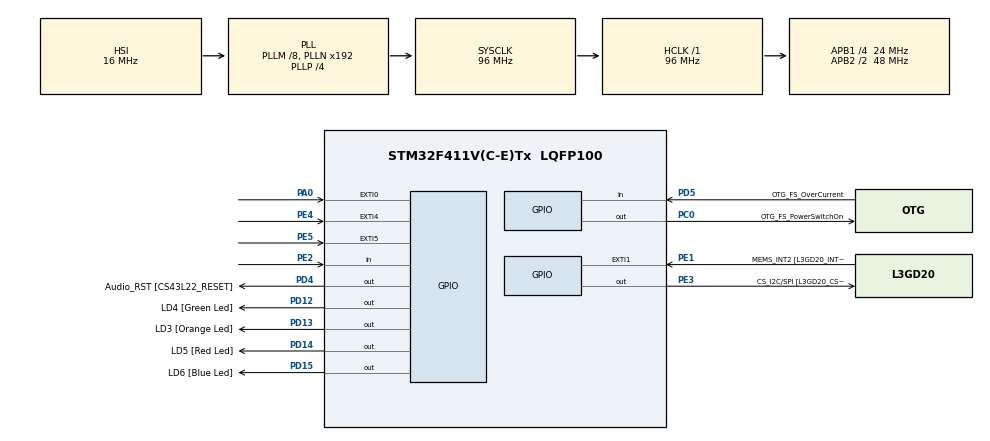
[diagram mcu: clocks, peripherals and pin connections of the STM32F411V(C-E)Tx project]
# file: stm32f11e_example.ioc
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FREERTOS.INCLUDE_vTaskDelayUntil=1
FREERTOS.Tasks01=defaultTask,0,128,StartDefaultTask,Default,NULL
Mcu.Family=STM32F4
Mcu.Name=STM32F411V(C-E)Tx
Mcu.Package=LQFP100
NVIC.PriorityGroup=NVIC_PRIORITYGROUP_4
NVIC.TIM1_UP_TIM10_IRQn=true\:0\:0\:false\:false\:true\:false\:false\:true
NVIC.TimeBase=TIM1_UP_TIM10_IRQn
NVIC.TimeBaseIP=TIM1
PA0-WKUP.GPIO_ModeDefaultEXTI=GPIO_MODE_EVT_RISING
PA0-WKUP.Signal=GPXTI0
PA10.GPIO_Label=OTG_FS_ID
PA10.Signal=USB_OTG_FS_ID
PA11.GPIO_Label=OTG_FS_DM
PA11.Signal=USB_OTG_FS_DM
PA12.GPIO_Label=OTG_FS_DP
PA12.Signal=USB_OTG_FS_DP
PA13.GPIO_Label=SWDIO
PA13.Signal=SYS_JTMS-SWDIO
PA14.GPIO_Label=SWCLK
PA14.Signal=SYS_JTCK-SWCLK
PA4.GPIO_Label=I2S3_WS [CS43L22_LRCK]
PA4.GPIO_Mode=GPIO_MODE_AF_PP
PA4.GPIO_PuPd=GPIO_NOPULL
PA4.GPIO_Speed=GPIO_SPEED_FREQ_LOW
PA4.Signal=I2S3_WS
PA5.GPIO_Label=SPI1_SCK [L3GD20_SC/SPC]
PA5.Signal=SPI1_SCK
PA6.GPIO_Label=SPI1_MISO [L3GD20_AS0/SDO]
PA6.Signal=SPI1_MISO
PA7.GPIO_Label=SPI1_MOSI [L3GD20_SDA/SDI/SDO]
PA7.Signal=SPI1_MOSI
PA9.GPIO_Label=VBUS_FS
PA9.Signal=USB_OTG_FS_VBUS
PB10.GPIO_Label=CLK_IN [MP45DT02_CLK]
PB10.Signal=I2S2_CK
PB12.Signal=I2S2_WS
PB3.GPIO_Label=SWO
PB3.Signal=SYS_JTDO-SWO
PB6.GPIO_Label=Audio_SCL [CS43L22_SCL]
PB6.GPIO_Mode=GPIO_MODE_AF_OD
PB6.GPIO_PuPd=GPIO_NOPULL
PB6.GPIO_Speed=GPIO_SPEED_FREQ_LOW
PB6.Signal=I2C1_SCL
PB9.GPIO_Label=Audio_SDA [CS43L22_SDA]
PB9.GPIO_Mode=GPIO_MODE_AF_OD
PB9.GPIO_PuPd=GPIO_NOPULL
PB9.GPIO_Speed=GPIO_SPEED_FREQ_LOW
PB9.Signal=I2C1_SDA
PC0.GPIO_Label=OTG_FS_PowerSwitchOn
PC0.PinState=GPIO_PIN_SET
PC0.Signal=GPIO_Output
PC10.GPIO_Label=I2S3_SCK [CS43L22_SCLK]
PC10.GPIO_Mode=GPIO_MODE_AF_PP
PC10.GPIO_PuPd=GPIO_NOPULL
PC10.GPIO_Speed=GPIO_SPEED_FREQ_LOW
PC10.Signal=I2S3_CK
PC12.GPIO_Label=I2S3_SD [CS43L22_SDIN]
PC12.GPIO_Mode=GPIO_MODE_AF_PP
PC12.GPIO_PuPd=GPIO_NOPULL
PC12.GPIO_Speed=GPIO_SPEED_FREQ_LOW
PC12.Signal=I2S3_SD
PC14-OSC32_IN.GPIO_Label=PC14-OSC32_IN
PC14-OSC32_IN.Signal=RCC_OSC32_IN
PC15-OSC32_OUT.GPIO_Label=PC15-OSC32_OUT
PC15-OSC32_OUT.Signal=RCC_OSC32_OUT
PC3.GPIO_Label=PDM_OUT [MP45DT02_DOUT]
PC3.Signal=I2S2_SD
PC7.GPIO_Label=I2S3_MCK [CS43L22_MCLK]
PC7.GPIO_Mode=GPIO_MODE_AF_PP
PC7.GPIO_PuPd=GPIO_NOPULL
PC7.GPIO_Speed=GPIO_SPEED_FREQ_LOW
PC7.Signal=I2S3_MCK
PD12.GPIO_Label=LD4 [Green Led]
PD12.GPIO_PuPd=GPIO_NOPULL
PD12.GPIO_Speed=GPIO_SPEED_FREQ_LOW
PD12.Signal=GPIO_Output
PD13.GPIO_Label=LD3 [Orange Led]
PD13.GPIO_PuPd=GPIO_NOPULL
PD13.GPIO_Speed=GPIO_SPEED_FREQ_LOW
PD13.Signal=GPIO_Output
PD14.GPIO_Label=LD5 [Red Led]
PD14.GPIO_PuPd=GPIO_NOPULL
PD14.GPIO_Speed=GPIO_SPEED_FREQ_LOW
PD14.Signal=GPIO_Output
PD15.GPIO_Label=LD6 [Blue Led]
PD15.GPIO_PuPd=GPIO_NOPULL
PD15.GPIO_Speed=GPIO_SPEED_FREQ_LOW
PD15.Signal=GPIO_Output
PD4.GPIO_Label=Audio_RST [CS43L22_RESET]
PD4.Signal=GPIO_Output
PD5.GPIO_Label=OTG_FS_OverCurrent
PD5.Signal=GPIO_Input
PE1.GPIO_Label=MEMS_INT2 [L3GD20_INT2]
PE1.GPIO_ModeDefaultEXTI=GPIO_MODE_EVT_RISING
PE1.Signal=GPXTI1
PE2.Signal=GPIO_Input
PE3.GPIO_Label=CS_I2C/SPI [L3GD20_CS_I2C/SPI]
PE3.Signal=GPIO_Output
PE4.GPIO_ModeDefaultEXTI=GPIO_MODE_EVT_RISING
PE4.Signal=GPXTI4
PE5.GPIO_ModeDefaultEXTI=GPIO_MODE_EVT_RISING
PE5.Signal=GPXTI5
PH0\ -\ OSC_IN.GPIO_Label=PH0-OSC_IN
PH0\ -\ OSC_IN.Signal=RCC_OSC_IN
PH1\ -\ OSC_OUT.GPIO_Label=PH1-OSC_OUT
PH1\ -\ OSC_OUT.Signal=RCC_OSC_OUT
ProjectManager.HeapSize=0x200
ProjectManager.StackSize=0x400
ProjectManager.TargetToolchain=SW4STM32
RCC.48MHZClocksFreq_Value=48000000
RCC.AHBFreq_Value=96000000
RCC.APB1CLKDivider=RCC_HCLK_DIV4
RCC.APB1Freq_Value=24000000
RCC.APB1TimFreq_Value=48000000
RCC.APB2CLKDivider=RCC_HCLK_DIV2
RCC.APB2Freq_Value=48000000
RCC.APB2TimFreq_Value=96000000
RCC.CortexFreq_Value=96000000
RCC.HCLKFreq_Value=96000000
RCC.HSE_VALUE=8000000
RCC.HSI_VALUE=16000000
RCC.LSE_VALUE=32768
RCC.PLLI2SM=5
RCC.PLLI2SN=200
RCC.PLLM=8
RCC.PLLP=RCC_PLLP_DIV4
RCC.PLLQ=8
RCC.SYSCLKFreq_VALUE=96000000
RCC.SYSCLKSource=RCC_SYSCLKSOURCE_PLLCLK
RCC.VCOOutputFreq_Value=384000000
VP_FREERTOS_VS_CMSIS_V1.Mode=CMSIS_V1
VP_SYS_VS_tim1.Mode=TIM1
board=STM32F411E-DISCO

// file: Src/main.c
/* USER CODE BEGIN Header */
/**
  ******************************************************************************
  * @file           : main.c
  * @brief          : Main program body
  ******************************************************************************
  * @attention
  *
  * <h2><center>&copy; Copyright (c) 2019 STMicroelectronics.
  * All rights reserved.</center></h2>
  *
  * This software component is licensed by ST under Ultimate Liberty license
  * SLA0044, the "License"; You may not use this file except in compliance with
  * the License. You may obtain a copy of the License at:
  *                             www.st.com/SLA0044
  *
  ******************************************************************************
  */
/* USER CODE END Header */

#include "main.h"
#include "cmsis_os.h"

osThreadId defaultTaskHandle;
/* USER CODE BEGIN PV */
/* Private variables ---------------------------------------------------------*/
osThreadId blinkLightsTaskHandle;

/* USER CODE END PV */

void SystemClock_Config(void);
static void MX_GPIO_Init(void);
void StartDefaultTask(void const* argument);

/* USER CODE BEGIN PFP */
/* Private function prototypes -----------------------------------------------*/
void blinkLightsTask(void const* argument);
void externalLEDTask(void const* argument);
void adcReadTask(void const* argument);
void spiReadTask(void const* argument);

/* USER CODE END PFP */

int main(void)
{

    /* MCU Configuration--------------------------------------------------------*/

    /* Reset of all peripherals, Initializes the Flash interface and the Systick. */
    HAL_Init();

    /* Configure the system clock */
    SystemClock_Config();

    /* Initialize all configured peripherals */
    MX_GPIO_Init();

    /* Create the thread(s) */
    /* definition and creation of defaultTask */
    osThreadDef(defaultTask, StartDefaultTask, osPriorityNormal, 0, 128);
    defaultTaskHandle = osThreadCreate(osThread(defaultTask), NULL);

    /* USER CODE BEGIN RTOS_THREADS */
    osThreadDef(blinkLightsThread, blinkLightsTask, osPriorityNormal, 1, configMINIMAL_STACK_SIZE);
    blinkLightsTaskHandle = osThreadCreate(osThread(blinkLightsThread), NULL);

    osThreadDef(externalLEDThread, externalLEDTask, osPriorityNormal, 1, configMINIMAL_STACK_SIZE);
    blinkLightsTaskHandle = osThreadCreate(osThread(externalLEDThread), NULL);

    osThreadDef(adcReadThread, adcReadTask, osPriorityNormal, 1, configMINIMAL_STACK_SIZE);
    blinkLightsTaskHandle = osThreadCreate(osThread(adcReadThread), NULL);

    osThreadDef(spiReadThread, spiReadTask, osPriorityNormal, 1, configMINIMAL_STACK_SIZE);
    blinkLightsTaskHandle = osThreadCreate(osThread(spiReadThread), NULL);

    /* USER CODE END RTOS_THREADS */

    /* Start scheduler */
    osKernelStart();

    /* We should never get here as control is now taken by the scheduler */

    /* Infinite loop */
    while (1)
    {

    }
}

void SystemClock_Config(void)
{
    RCC_OscInitTypeDef RCC_OscInitStruct = {0};
    RCC_ClkInitTypeDef RCC_ClkInitStruct = {0};

    /** Configure the main internal regulator output voltage
    */
    __HAL_RCC_PWR_CLK_ENABLE();
    __HAL_PWR_VOLTAGESCALING_CONFIG(PWR_REGULATOR_VOLTAGE_SCALE1);
    /** Initializes the CPU, AHB and APB busses clocks
    */
    RCC_OscInitStruct.OscillatorType = RCC_OSCILLATORTYPE_HSI;
    RCC_OscInitStruct.HSIState = RCC_HSI_ON;
    RCC_OscInitStruct.HSICalibrationValue = RCC_HSICALIBRATION_DEFAULT;
    RCC_OscInitStruct.PLL.PLLState = RCC_PLL_ON;
    RCC_OscInitStruct.PLL.PLLSource = RCC_PLLSOURCE_HSI;
    RCC_OscInitStruct.PLL.PLLM = 8;
    RCC_OscInitStruct.PLL.PLLN = 192;
    RCC_OscInitStruct.PLL.PLLP = RCC_PLLP_DIV4;
    RCC_OscInitStruct.PLL.PLLQ = 8;

    if (HAL_RCC_OscConfig(&RCC_OscInitStruct) != HAL_OK)
    {
        Error_Handler();
    }

    /** Initializes the CPU, AHB and APB busses clocks
    */
    RCC_ClkInitStruct.ClockType = RCC_CLOCKTYPE_HCLK | RCC_CLOCKTYPE_SYSCLK
                                  | RCC_CLOCKTYPE_PCLK1 | RCC_CLOCKTYPE_PCLK2;
    RCC_ClkInitStruct.SYSCLKSource = RCC_SYSCLKSOURCE_PLLCLK;
    RCC_ClkInitStruct.AHBCLKDivider = RCC_SYSCLK_DIV1;
    RCC_ClkInitStruct.APB1CLKDivider = RCC_HCLK_DIV4;
    RCC_ClkInitStruct.APB2CLKDivider = RCC_HCLK_DIV2;

    if (HAL_RCC_ClockConfig(&RCC_ClkInitStruct, FLASH_LATENCY_3) != HAL_OK)
    {
        Error_Handler();
    }
}

static void MX_GPIO_Init(void)
{
    GPIO_InitTypeDef GPIO_InitStruct = {0};

    /* GPIO Ports Clock Enable */
    __HAL_RCC_GPIOE_CLK_ENABLE();
    __HAL_RCC_GPIOC_CLK_ENABLE();
    __HAL_RCC_GPIOH_CLK_ENABLE();
    __HAL_RCC_GPIOA_CLK_ENABLE();
    __HAL_RCC_GPIOB_CLK_ENABLE();
    __HAL_RCC_GPIOD_CLK_ENABLE();

    /*Configure GPIO pin Output Level */
    HAL_GPIO_WritePin(CS_I2C_SPI_GPIO_Port, CS_I2C_SPI_Pin, GPIO_PIN_RESET);

    /*Configure GPIO pin Output Level */
    HAL_GPIO_WritePin(OTG_FS_PowerSwitchOn_GPIO_Port, OTG_FS_PowerSwitchOn_Pin, GPIO_PIN_SET);

    /*Configure GPIO pin Output Level */
    HAL_GPIO_WritePin(GPIOD, LD4_Pin | LD3_Pin | LD5_Pin | LD6_Pin
                      | Audio_RST_Pin, GPIO_PIN_RESET);

    /*Configure GPIO pin : PE2 */
    GPIO_InitStruct.Pin = GPIO_PIN_2;
    GPIO_InitStruct.Mode = GPIO_MODE_INPUT;
    GPIO_InitStruct.Pull = GPIO_NOPULL;
    HAL_GPIO_Init(GPIOE, &GPIO_InitStruct);

    /*Configure GPIO pin : CS_I2C_SPI_Pin */
    GPIO_InitStruct.Pin = CS_I2C_SPI_Pin;
    GPIO_InitStruct.Mode = GPIO_MODE_OUTPUT_PP;
    GPIO_InitStruct.Pull = GPIO_NOPULL;
    GPIO_InitStruct.Speed = GPIO_SPEED_FREQ_LOW;
    HAL_GPIO_Init(CS_I2C_SPI_GPIO_Port, &GPIO_InitStruct);

    /*Configure GPIO pins : PE4 PE5 MEMS_INT2_Pin */
    GPIO_InitStruct.Pin = GPIO_PIN_4 | GPIO_PIN_5 | MEMS_INT2_Pin;
    GPIO_InitStruct.Mode = GPIO_MODE_EVT_RISING;
    GPIO_InitStruct.Pull = GPIO_NOPULL;
    HAL_GPIO_Init(GPIOE, &GPIO_InitStruct);

    /*Configure GPIO pin : OTG_FS_PowerSwitchOn_Pin */
    GPIO_InitStruct.Pin = OTG_FS_PowerSwitchOn_Pin;
    GPIO_InitStruct.Mode = GPIO_MODE_OUTPUT_PP;
    GPIO_InitStruct.Pull = GPIO_NOPULL;
    GPIO_InitStruct.Speed = GPIO_SPEED_FREQ_LOW;
    HAL_GPIO_Init(OTG_FS_PowerSwitchOn_GPIO_Port, &GPIO_InitStruct);

    /*Configure GPIO pin : PDM_OUT_Pin */
    GPIO_InitStruct.Pin = PDM_OUT_Pin;
    GPIO_InitStruct.Mode = GPIO_MODE_AF_PP;
    GPIO_InitStruct.Pull = GPIO_NOPULL;
    GPIO_InitStruct.Speed = GPIO_SPEED_FREQ_LOW;
    GPIO_InitStruct.Alternate = GPIO_AF5_SPI2;
    HAL_GPIO_Init(PDM_OUT_GPIO_Port, &GPIO_InitStruct);

    /*Configure GPIO pin : PA0 */
    GPIO_InitStruct.Pin = GPIO_PIN_0;
    GPIO_InitStruct.Mode = GPIO_MODE_EVT_RISING;
    GPIO_InitStruct.Pull = GPIO_NOPULL;
    HAL_GPIO_Init(GPIOA, &GPIO_InitStruct);

    /*Configure GPIO pin : I2S3_WS_Pin */
    GPIO_InitStruct.Pin = I2S3_WS_Pin;
    GPIO_InitStruct.Mode = GPIO_MODE_AF_PP;
    GPIO_InitStruct.Pull = GPIO_NOPULL;
    GPIO_InitStruct.Speed = GPIO_SPEED_FREQ_LOW;
    GPIO_InitStruct.Alternate = GPIO_AF6_SPI3;
    HAL_GPIO_Init(I2S3_WS_GPIO_Port, &GPIO_InitStruct);

    /*Configure GPIO pins : SPI1_SCK_Pin SPI1_MISO_Pin SPI1_MOSI_Pin */
    GPIO_InitStruct.Pin = SPI1_SCK_Pin | SPI1_MISO_Pin | SPI1_MOSI_Pin;
    GPIO_InitStruct.Mode = GPIO_MODE_AF_PP;
    GPIO_InitStruct.Pull = GPIO_NOPULL;
    GPIO_InitStruct.Speed = GPIO_SPEED_FREQ_VERY_HIGH;
    GPIO_InitStruct.Alternate = GPIO_AF5_SPI1;
    HAL_GPIO_Init(GPIOA, &GPIO_InitStruct);

    /*Configure GPIO pins : CLK_IN_Pin PB12 */
    GPIO_InitStruct.Pin = CLK_IN_Pin | GPIO_PIN_12;
    GPIO_InitStruct.Mode = GPIO_MODE_AF_PP;
    GPIO_InitStruct.Pull = GPIO_NOPULL;
    GPIO_InitStruct.Speed = GPIO_SPEED_FREQ_LOW;
    GPIO_InitStruct.Alternate = GPIO_AF5_SPI2;
    HAL_GPIO_Init(GPIOB, &GPIO_InitStruct);

    /*Configure GPIO pins : LD4_Pin LD3_Pin LD5_Pin LD6_Pin
                             Audio_RST_Pin */
    GPIO_InitStruct.Pin = LD4_Pin | LD3_Pin | LD5_Pin | LD6_Pin
                          | Audio_RST_Pin;
    GPIO_InitStruct.Mode = GPIO_MODE_OUTPUT_PP;
    GPIO_InitStruct.Pull = GPIO_NOPULL;
    GPIO_InitStruct.Speed = GPIO_SPEED_FREQ_LOW;
    HAL_GPIO_Init(GPIOD, &GPIO_InitStruct);

    /*Configure GPIO pins : I2S3_MCK_Pin I2S3_SCK_Pin I2S3_SD_Pin */
    GPIO_InitStruct.Pin = I2S3_MCK_Pin | I2S3_SCK_Pin | I2S3_SD_Pin;
    GPIO_InitStruct.Mode = GPIO_MODE_AF_PP;
    GPIO_InitStruct.Pull = GPIO_NOPULL;
    GPIO_InitStruct.Speed = GPIO_SPEED_FREQ_LOW;
    GPIO_InitStruct.Alternate = GPIO_AF6_SPI3;
    HAL_GPIO_Init(GPIOC, &GPIO_InitStruct);

    /*Configure GPIO pin : VBUS_FS_Pin */
    GPIO_InitStruct.Pin = VBUS_FS_Pin;
    GPIO_InitStruct.Mode = GPIO_MODE_INPUT;
    GPIO_InitStruct.Pull = GPIO_NOPULL;
    HAL_GPIO_Init(VBUS_FS_GPIO_Port, &GPIO_InitStruct);

    /*Configure GPIO pins : OTG_FS_ID_Pin OTG_FS_DM_Pin OTG_FS_DP_Pin */
    GPIO_InitStruct.Pin = OTG_FS_ID_Pin | OTG_FS_DM_Pin | OTG_FS_DP_Pin;
    GPIO_InitStruct.Mode = GPIO_MODE_AF_PP;
    GPIO_InitStruct.Pull = GPIO_NOPULL;
    GPIO_InitStruct.Speed = GPIO_SPEED_FREQ_VERY_HIGH;
    GPIO_InitStruct.Alternate = GPIO_AF10_OTG_FS;
    HAL_GPIO_Init(GPIOA, &GPIO_InitStruct);

    /*Configure GPIO pin : OTG_FS_OverCurrent_Pin */
    GPIO_InitStruct.Pin = OTG_FS_OverCurrent_Pin;
    GPIO_InitStruct.Mode = GPIO_MODE_INPUT;
    GPIO_InitStruct.Pull = GPIO_NOPULL;
    HAL_GPIO_Init(OTG_FS_OverCurrent_GPIO_Port, &GPIO_InitStruct);

    /*Configure GPIO pins : Audio_SCL_Pin Audio_SDA_Pin */
    GPIO_InitStruct.Pin = Audio_SCL_Pin | Audio_SDA_Pin;
    GPIO_InitStruct.Mode = GPIO_MODE_AF_OD;
    GPIO_InitStruct.Pull = GPIO_PULLUP;
    GPIO_InitStruct.Speed = GPIO_SPEED_FREQ_LOW;
    GPIO_InitStruct.Alternate = GPIO_AF4_I2C1;
    HAL_GPIO_Init(GPIOB, &GPIO_InitStruct);

}

/* USER CODE BEGIN 4 */
void blinkLightsTask(void const* argument)
{
    uint32_t prevWakeTime = osKernelSysTick();
    uint16_t counter = 0;

    for (;;)
    {
        osDelayUntil(&prevWakeTime, 250);

        switch (counter)
        {
            case 0:
                HAL_GPIO_TogglePin(LD3_GPIO_Port, LD3_Pin);
                counter = 1;
                break;

            case 1:
                HAL_GPIO_TogglePin(LD4_GPIO_Port, LD4_Pin);
                counter = 2;
                break;

            case 2:
                HAL_GPIO_TogglePin(LD5_GPIO_Port, LD5_Pin);
                counter = 3;
                break;

            case 3:
                counter = 0;
                HAL_GPIO_TogglePin(LD6_GPIO_Port, LD6_Pin);
                break;
        }
    }
}

void externalLEDTask(void const* argument)
{
    uint32_t prevWakeTime = osKernelSysTick();

    while (true)
    {
        osDelayUntil(&prevWakeTime, 500);

    }
}

void adcReadTask(void const* argument)
{
    uint32_t prevWakeTime = osKernelSysTick();

    for (;;)
    {
        osDelayUntil(&prevWakeTime, 250);

    }
}

void spiReadTask(void const* argument)
{
    uint32_t prevWakeTime = osKernelSysTick();

    for (;;)
    {
        osDelayUntil(&prevWakeTime, 250);

    }
}

/* USER CODE END 4 */

void StartDefaultTask(void const* argument)
{
    for (;;)
    {
        osDelay(1);
    }
}

void HAL_TIM_PeriodElapsedCallback(TIM_HandleTypeDef* htim)
{
    if (htim->Instance == TIM1)
    {
        HAL_IncTick();
    }

}

void Error_Handler(void)
{
    while (1)
    {
    }
}

/************************ (C) COPYRIGHT STMicroelectronics *****END OF FILE****/

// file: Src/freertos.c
/* USER CODE BEGIN Header */
/**
  ******************************************************************************
  * File Name          : freertos.c
  * Description        : Code for freertos applications
  ******************************************************************************
  * This notice applies to any and all portions of this file
  * that are not between comment pairs USER CODE BEGIN and
  * USER CODE END. Other portions of this file, whether
  * inserted by the user or by software development tools
  * are owned by their respective copyright owners.
  *
  * Copyright (c) 2018 STMicroelectronics International N.V.
  * All rights reserved.
  *
  * Redistribution and use in source and binary forms, with or without
  * modification, are permitted, provided that the following conditions are met:
  *
  * 1. Redistribution of source code must retain the above copyright notice,
  *    this list of conditions and the following disclaimer.
  * 2. Redistributions in binary form must reproduce the above copyright notice,
  *    this list of conditions and the following disclaimer in the documentation
  *    and/or other materials provided with the distribution.
  * 3. Neither the name of STMicroelectronics nor the names of other
  *    contributors to this software may be used to endorse or promote products
  *    derived from this software without specific written permission.
  * 4. This software, including modifications and/or derivative works of this
  *    software, must execute solely and exclusively on microcontroller or
  *    microprocessor devices manufactured by or for STMicroelectronics.
  * 5. Redistribution and use of this software other than as permitted under
  *    this license is void and will automatically terminate your rights under
  *    this license.
  *
  * THIS SOFTWARE IS PROVIDED BY STMICROELECTRONICS AND CONTRIBUTORS "AS IS"
  * AND ANY EXPRESS, IMPLIED OR STATUTORY WARRANTIES, INCLUDING, BUT NOT
  * LIMITED TO, THE IMPLIED WARRANTIES OF MERCHANTABILITY, FITNESS FOR A
  * PARTICULAR PURPOSE AND NON-INFRINGEMENT OF THIRD PARTY INTELLECTUAL PROPERTY
  * RIGHTS ARE DISCLAIMED TO THE FULLEST EXTENT PERMITTED BY LAW. IN NO EVENT
  * SHALL STMICROELECTRONICS OR CONTRIBUTORS BE LIABLE FOR ANY DIRECT, INDIRECT,
  * INCIDENTAL, SPECIAL, EXEMPLARY, OR CONSEQUENTIAL DAMAGES (INCLUDING, BUT NOT
  * LIMITED TO, PROCUREMENT OF SUBSTITUTE GOODS OR SERVICES; LOSS OF USE, DATA,
  * OR PROFITS; OR BUSINESS INTERRUPTION) HOWEVER CAUSED AND ON ANY THEORY OF
  * LIABILITY, WHETHER IN CONTRACT, STRICT LIABILITY, OR TORT (INCLUDING
  * NEGLIGENCE OR OTHERWISE) ARISING IN ANY WAY OUT OF THE USE OF THIS SOFTWARE,
  * EVEN IF ADVISED OF THE POSSIBILITY OF SUCH DAMAGE.
  *
  ******************************************************************************
  */
/* USER CODE END Header */

#include "FreeRTOS.h"
#include "task.h"
#include "main.h"

/* GetIdleTaskMemory prototype (linked to static allocation support) */
void vApplicationGetIdleTaskMemory( StaticTask_t **ppxIdleTaskTCBBuffer, StackType_t **ppxIdleTaskStackBuffer, uint32_t *pulIdleTaskStackSize );

/* USER CODE BEGIN GET_IDLE_TASK_MEMORY */
static StaticTask_t xIdleTaskTCBBuffer;
static StackType_t xIdleStack[configMINIMAL_STACK_SIZE];

void vApplicationGetIdleTaskMemory( StaticTask_t** ppxIdleTaskTCBBuffer, StackType_t** ppxIdleTaskStackBuffer, uint32_t* pulIdleTaskStackSize )
{
    *ppxIdleTaskTCBBuffer = &xIdleTaskTCBBuffer;
    *ppxIdleTaskStackBuffer = &xIdleStack[0];
    *pulIdleTaskStackSize = configMINIMAL_STACK_SIZE;
    /* place for user code */
}
/* USER CODE END GET_IDLE_TASK_MEMORY */

/************************ (C) COPYRIGHT STMicroelectronics *****END OF FILE****/
